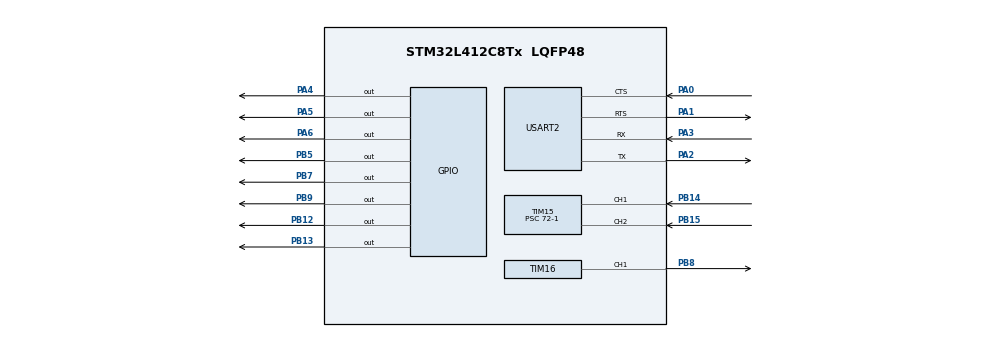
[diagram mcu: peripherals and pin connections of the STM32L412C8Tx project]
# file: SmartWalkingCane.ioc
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Mcu.Family=STM32L4
Mcu.Name=STM32L412C8Tx
Mcu.Package=LQFP48
NVIC.PriorityGroup=NVIC_PRIORITYGROUP_4
NVIC.TIM1_BRK_TIM15_IRQn=true\:0\:0\:false\:false\:true\:true\:true\:true
PA0.Mode=CTS_RTS
PA0.Signal=USART2_CTS
PA1.Mode=CTS_RTS
PA1.Signal=USART2_RTS
PA13\ (JTMS/SWDIO).Signal=SYS_JTMS-SWDIO
PA14\ (JTCK/SWCLK).Signal=SYS_JTCK-SWCLK
PA2.Mode=Asynchronous
PA2.Signal=USART2_TX
PA3.Mode=Asynchronous
PA3.Signal=USART2_RX
PA4.Signal=GPIO_Output
PA5.Signal=GPIO_Output
PA6.Signal=GPIO_Output
PB12.Signal=GPIO_Output
PB13.Signal=GPIO_Output
PB14.Signal=S_TIM15_CH1
PB15.Signal=S_TIM15_CH2
PB3\ (JTDO/TRACESWO).Signal=SYS_JTDO-SWO
PB5.GPIO_ModeDefaultOutputPP=GPIO_MODE_OUTPUT_OD
PB5.GPIO_PuPd=GPIO_NOPULL
PB5.Signal=GPIO_Output
PB7.Signal=GPIO_Output
PB8.Signal=S_TIM16_CH1
PB9.Signal=GPIO_Output
ProjectManager.HeapSize=0x200
ProjectManager.StackSize=0x400
ProjectManager.TargetToolchain=STM32CubeIDE
RCC.ADCFreq_Value=4000000
RCC.HSE_VALUE=8000000
RCC.HSI48_VALUE=48000000
RCC.HSI_VALUE=16000000
RCC.LSE_VALUE=32768
RCC.MSI_VALUE=4000000
RCC.USBFreq_Value=4000000
RCC.VCOOutputFreq_Value=32000000
SH.S_TIM15_CH1.0=TIM15_CH1,Input_Capture1_from_TI1
SH.S_TIM15_CH2.0=TIM15_CH2,Input_Capture2_from_TI2
SH.S_TIM16_CH1.0=TIM16_CH1,PWM Generation1 CH1
TIM15.AutoReloadPreload=TIM_AUTORELOAD_PRELOAD_ENABLE
TIM15.Channel-Input_Capture1_from_TI1=TIM_CHANNEL_1
TIM15.Channel-Input_Capture2_from_TI2=TIM_CHANNEL_2
TIM15.Period=0xffff-1
TIM15.Prescaler=72-1
TIM16.AutoReloadPreload=TIM_AUTORELOAD_PRELOAD_ENABLE
TIM16.Channel=TIM_CHANNEL_1
USART2.VirtualMode-Asynchronous=VM_ASYNC
VP_TIM15_VS_ClockSourceINT.Mode=Internal
VP_TIM16_VS_ClockSourceINT.Mode=Enable_Timer
board=custom

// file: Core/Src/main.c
/* USER CODE BEGIN Header */
/**
 ******************************************************************************
 * @file           : main.c
 * @brief          : Main program body
 ******************************************************************************
 * @attention
 *
 * Copyright (c) 2024 STMicroelectronics.
 * All rights reserved.
 *
 * This software is licensed under terms that can be found in the LICENSE file
 * in the root directory of this software component.
 * If no LICENSE file comes with this software, it is provided AS-IS.
 *
 ******************************************************************************
 */
/* USER CODE END Header */
#include "main.h"

/* USER CODE BEGIN Includes */
#include <math.h>
#include <stdint.h>
#include <stdio.h>
#include <stdlib.h>
#include <string.h>

#include "HCSR04.h"
#include "defines.h"
#include "lteiot9.h"
/* USER CODE END Includes */

/* USER CODE BEGIN PD */
#define HCSR04_SENSOR1 0
#define HCSR04_SENSOR2 1

#define NUM_SAMPLES 8

#define COUNTER_PERIOD 65535

// #define NUM_SAMPLES 3
/* USER CODE END PD */

TIM_HandleTypeDef htim15;
TIM_HandleTypeDef htim16;

UART_HandleTypeDef huart2;

/* USER CODE BEGIN PV */

uint16_t TRIG_Ticks = 0;

float US_Dist_1 = 0.0;
float US_Dist_2 = 0.0;

int readings1[NUM_SAMPLES];
int readings2[NUM_SAMPLES];
int index1 = 0;
int index2 = 0;

lteiot9_t lteiot9;

char app_buf[PROCESS_BUFFER_SIZE] = {0};
char gnss_buf[PROCESS_BUFFER_SIZE] = {0};
char response[PROCESS_BUFFER_SIZE] = {0};

uint32_t gnss_buf_len = 0;
uint32_t gnss_buf_cnt = 0;

uint32_t app_buf_len = 0;
uint32_t app_buf_cnt = 0;

char latitude_data[30] = {0};
char longitude_data[30] = {0};
char altitude_data[30] = {0};

int app_error_flag;
int last_error_flag;

char uid_str[25];
char json_data[128];
char last_json_data[128];
char json_data_flag[64];

uint8_t lteiot9_status = 0;
uint8_t init_status = 0;
uint8_t net_config_status = 0;
uint8_t net_conn_status = 0;
uint8_t setup_http_flags_status = 0;
uint8_t post_http_flags_status = 0;
uint8_t gnss_config_status = 0;
uint8_t gnss_data_status = 0;
uint8_t setup_http_gnss_status = 0;
uint8_t post_http_gnss_status = 0;

uint8_t gps_status = 0;
uint8_t gps_status_old = 0;
uint8_t ping_status = 0;
uint32_t wait_value = DEFAULT_WAIT;
int http_fail_counter = 0;

int dns_idx = 0;
char primary_dns[3][8] = {"0.0.0.0", "8.8.8.8", "1.1.1.1"};
char secondary_dns[3][8] = {"0.0.0.0", "8.8.4.4", "1.0.0.1"};
int netConfigCounter = 0;

uint32_t ping_timer_counter = 0;

int gnssDataFunctionCounter = 0;
int gnssDataFunctionCounter_MaxVal = FIRST_TIME_GNSS;
int gnssPostFlag = -1;

uint8_t location_send_flag = 0;

int gnss_parse_flag = -1;
int gnss_post_flag = -1;
uint32_t initFunctionCounter = 0;
uint32_t initFunctionCounter_MaxVal = 20;
uint32_t netConfigFunctionCounter = 0;
uint32_t netConfigFunctionCounter_MaxVal = 3;

uint32_t netConnFunctionCounter = 0;
uint32_t netConnFunctionCounter_MaxVal = 3;
uint32_t setupHttpFlagsFunctionCounter = 0;
uint32_t setupHttpFlagsFunctionCounter_MaxVal = 5;
uint32_t postHttpFlagsFunctionCounter = 0;
uint32_t postHttpFlagsFunctionCounter_MaxVal = 5;
uint32_t setupHttpGnssFunctionCounter = 0;
uint32_t setupHttpGnssFunctionCounter_MaxVal = 5;
uint32_t postHttpGnssFunctionCounter = 0;
uint32_t postHttpGnssFunctionCounter_MaxVal = 5;

/* USER CODE END PV */

void SystemClock_Config(void);
static void MX_GPIO_Init(void);
static void MX_TIM15_Init(void);
static void MX_TIM16_Init(void);
static void MX_USART2_UART_Init(void);

/* USER CODE BEGIN 0 */

void HAL_TIM_IC_CaptureCallback(TIM_HandleTypeDef *htim) {
  HCSR04_TMR_IC_ISR(htim);
}

void HAL_TIM_PeriodElapsedCallback(TIM_HandleTypeDef *htim) {
  HCSR04_TMR_OVF_ISR(htim);
}

void SysTick_CallBack(void) {
  TRIG_Ticks++;

  // Every 15msec
  if (TRIG_Ticks >= 15) {
    HCSR04_Trigger(HCSR04_SENSOR1);
    HCSR04_Trigger(HCSR04_SENSOR2);
    TRIG_Ticks = 0;
  }
}

void set_vibration_1(float distance);

void set_vibration_2(float distance);

void ping(uint32_t time, uint32_t delay);

void ping_start();

void ping_routine();

void reset_status();

void lteiot9_clear_app_buf();

void lteiot9_clear_gnss_buf();

size_t filledCharacters(char buff[]);

uint32_t lteiot9_process_gnss();

uint32_t lteiot9_process();

uint32_t lteiot9_rsp_check();

void parse_flags_json_response();

float parse_coordinate(char *data);

void format_coordinate_json_data(float latitude, float longitude, char *json_data);

int32_t lteiot9_element_parser(char *cmd, uint8_t element, char *element_data);

void lteiot9_error_check(uint32_t error_flag);

int lteiot9_gnss_data_parser();

int lteiot9_gnss_coordinates();

void gnssDataFunction();

void initFunction();

void netConfigFunction();

void netConnFunction();

void setupHttpFlagsFunction();

void postHttpFlagsFunction();

void gnssConfigFunction();

void setupHttpGnssFunction();

void postHttpGnssFunction();

void lteiot9_task() {
  switch (lteiot9_status) {
    case LTEIOT9_INIT: {
      initFunction();
      break;
    }
    case LTEIOT9_NET_CONFIG: {
      netConfigFunction();
      break;
    }
    case LTEIOT9_NET_CONN: {
      netConnFunction();
      break;
    }
    case LTEIOT9_HTTP_FLAGS_SETUP: {
      setupHttpFlagsFunction();
      break;
    }
    case LTEIOT9_HTTP_FLAGS_POST: {
      postHttpFlagsFunction();
      break;
    }
    case LTEIOT9_GNSS_CONFIG: {
      gnssConfigFunction();
      break;
    }
    case LTEIOT9_GNSS_DATA: {
      gnssDataFunction();
      break;
    }
    case LTEIOT9_HTTP_GNSS_SETUP: {
      setupHttpGnssFunction();
      break;
    }
    case LTEIOT9_HTTP_GNSS_POST: {
      postHttpGnssFunction();
      break;
    }
    default: {
      // Handle unknown status
      break;
    }
  }

  if (http_fail_counter > 2) {
    dns_idx = (dns_idx + 1) % 3;
    lteiot9_status = LTEIOT9_NET_CONFIG;
    http_fail_counter = 0;
    reset_status();
  }
}

// Function to update rolling average for sensor 1
int UpdateRollingAverage1(int newReading) {
  readings1[index1] = newReading;
  index1 = (index1 + 1) % NUM_SAMPLES;

  int total = 0;
  for (int i = 0; i < NUM_SAMPLES; i++) {
    total += readings1[i];
  }
  return total / NUM_SAMPLES;
}

// Function to update rolling average for sensor 2
int UpdateRollingAverage2(int newReading) {
  readings2[index2] = newReading;
  index2 = (index2 + 1) % NUM_SAMPLES;

  int total = 0;
  for (int i = 0; i < NUM_SAMPLES; i++) {
    total += readings2[i];
  }
  return total / NUM_SAMPLES;
}

void us_sensor_task() {
  US_Dist_1 = HCSR04_Read(HCSR04_SENSOR1);
  US_Dist_2 = HCSR04_Read(HCSR04_SENSOR2);

  US_Dist_1 = UpdateRollingAverage1(US_Dist_1);
  US_Dist_2 = UpdateRollingAverage2(US_Dist_2);

  set_vibration_1(US_Dist_1);
  set_vibration_2(US_Dist_2);
}

/* USER CODE END 0 */

int main(void) {

  /* MCU Configuration--------------------------------------------------------*/

  /* Reset of all peripherals, Initializes the Flash interface and the Systick.
   */
  HAL_Init();

  /* Configure the system clock */
  SystemClock_Config();

  /* Initialize all configured peripherals */
  MX_GPIO_Init();
  MX_TIM15_Init();
  MX_TIM16_Init();
  MX_USART2_UART_Init();
  /* USER CODE BEGIN 2 */

  HAL_GPIO_WritePin(GPIOB, GPIO_PIN_5, GPIO_PIN_SET);
  HCSR04_Init(HCSR04_SENSOR1, &htim15);
  HCSR04_Init(HCSR04_SENSOR2, &htim15);

  HAL_TIM_PWM_Start(&htim16, TIM_CHANNEL_1);
  HAL_GPIO_WritePin(LTEIOT9_CS_GPIO_Port, LTEIOT9_CS_Pin, GPIO_PIN_SET);

  uint32_t uid[3];

  uid[0] = HAL_GetUIDw0();
  uid[1] = HAL_GetUIDw1();
  uid[2] = HAL_GetUIDw2();

  // Convert each uint32_t to its string representation
  snprintf(uid_str, sizeof(uid_str), "%08lX%08lX%08lX", uid[0], uid[1], uid[2]);
  lteiot9_init(&lteiot9, &huart2);

  ping_start();

  /* USER CODE END 2 */

  /* Infinite loop */
  /* USER CODE BEGIN WHILE */
  while (1) {
    uint32_t tick = HAL_GetTick();

    while (HAL_GetTick() - tick < wait_value) {
      us_sensor_task();
    }

    wait_value = DEFAULT_WAIT;

    lteiot9_task();

    /* USER CODE END WHILE */

  }
}

void SystemClock_Config(void) {
  RCC_OscInitTypeDef RCC_OscInitStruct = {0};
  RCC_ClkInitTypeDef RCC_ClkInitStruct = {0};

  /** Configure the main internal regulator output voltage
   */
  if (HAL_PWREx_ControlVoltageScaling(PWR_REGULATOR_VOLTAGE_SCALE1) != HAL_OK) {
    Error_Handler();
  }

  /** Initializes the RCC Oscillators according to the specified parameters
   * in the RCC_OscInitTypeDef structure.
   */
  RCC_OscInitStruct.OscillatorType = RCC_OSCILLATORTYPE_MSI;
  RCC_OscInitStruct.MSIState = RCC_MSI_ON;
  RCC_OscInitStruct.MSICalibrationValue = 0;
  RCC_OscInitStruct.MSIClockRange = RCC_MSIRANGE_6;
  RCC_OscInitStruct.PLL.PLLState = RCC_PLL_NONE;
  if (HAL_RCC_OscConfig(&RCC_OscInitStruct) != HAL_OK) {
    Error_Handler();
  }

  /** Initializes the CPU, AHB and APB buses clocks
   */
  RCC_ClkInitStruct.ClockType = RCC_CLOCKTYPE_HCLK | RCC_CLOCKTYPE_SYSCLK |
                                RCC_CLOCKTYPE_PCLK1 | RCC_CLOCKTYPE_PCLK2;
  RCC_ClkInitStruct.SYSCLKSource = RCC_SYSCLKSOURCE_MSI;
  RCC_ClkInitStruct.AHBCLKDivider = RCC_SYSCLK_DIV1;
  RCC_ClkInitStruct.APB1CLKDivider = RCC_HCLK_DIV1;
  RCC_ClkInitStruct.APB2CLKDivider = RCC_HCLK_DIV1;

  if (HAL_RCC_ClockConfig(&RCC_ClkInitStruct, FLASH_LATENCY_0) != HAL_OK) {
    Error_Handler();
  }
}

static void MX_TIM15_Init(void) {

  TIM_ClockConfigTypeDef sClockSourceConfig = {0};
  TIM_MasterConfigTypeDef sMasterConfig = {0};
  TIM_IC_InitTypeDef sConfigIC = {0};

  htim15.Instance = TIM15;
  htim15.Init.Prescaler = 72 - 1;
  htim15.Init.CounterMode = TIM_COUNTERMODE_UP;
  htim15.Init.Period = 0xffff - 1;
  htim15.Init.ClockDivision = TIM_CLOCKDIVISION_DIV1;
  htim15.Init.RepetitionCounter = 0;
  htim15.Init.AutoReloadPreload = TIM_AUTORELOAD_PRELOAD_ENABLE;
  if (HAL_TIM_Base_Init(&htim15) != HAL_OK) {
    Error_Handler();
  }
  sClockSourceConfig.ClockSource = TIM_CLOCKSOURCE_INTERNAL;
  if (HAL_TIM_ConfigClockSource(&htim15, &sClockSourceConfig) != HAL_OK) {
    Error_Handler();
  }
  if (HAL_TIM_IC_Init(&htim15) != HAL_OK) {
    Error_Handler();
  }
  sMasterConfig.MasterOutputTrigger = TIM_TRGO_RESET;
  sMasterConfig.MasterSlaveMode = TIM_MASTERSLAVEMODE_DISABLE;
  if (HAL_TIMEx_MasterConfigSynchronization(&htim15, &sMasterConfig) !=
      HAL_OK) {
    Error_Handler();
  }
  sConfigIC.ICPolarity = TIM_INPUTCHANNELPOLARITY_RISING;
  sConfigIC.ICSelection = TIM_ICSELECTION_DIRECTTI;
  sConfigIC.ICPrescaler = TIM_ICPSC_DIV1;
  sConfigIC.ICFilter = 0;
  if (HAL_TIM_IC_ConfigChannel(&htim15, &sConfigIC, TIM_CHANNEL_1) != HAL_OK) {
    Error_Handler();
  }
  if (HAL_TIM_IC_ConfigChannel(&htim15, &sConfigIC, TIM_CHANNEL_2) != HAL_OK) {
    Error_Handler();
  }
}

static void MX_TIM16_Init(void) {

  TIM_OC_InitTypeDef sConfigOC = {0};
  TIM_BreakDeadTimeConfigTypeDef sBreakDeadTimeConfig = {0};

  htim16.Instance = TIM16;
  htim16.Init.Prescaler = 0;
  htim16.Init.CounterMode = TIM_COUNTERMODE_UP;
  htim16.Init.Period = 65535;
  htim16.Init.ClockDivision = TIM_CLOCKDIVISION_DIV1;
  htim16.Init.RepetitionCounter = 0;
  htim16.Init.AutoReloadPreload = TIM_AUTORELOAD_PRELOAD_ENABLE;
  if (HAL_TIM_Base_Init(&htim16) != HAL_OK) {
    Error_Handler();
  }
  if (HAL_TIM_PWM_Init(&htim16) != HAL_OK) {
    Error_Handler();
  }
  sConfigOC.OCMode = TIM_OCMODE_PWM1;
  sConfigOC.Pulse = 0;
  sConfigOC.OCPolarity = TIM_OCPOLARITY_HIGH;
  sConfigOC.OCNPolarity = TIM_OCNPOLARITY_HIGH;
  sConfigOC.OCFastMode = TIM_OCFAST_DISABLE;
  sConfigOC.OCIdleState = TIM_OCIDLESTATE_RESET;
  sConfigOC.OCNIdleState = TIM_OCNIDLESTATE_RESET;
  if (HAL_TIM_PWM_ConfigChannel(&htim16, &sConfigOC, TIM_CHANNEL_1) != HAL_OK) {
    Error_Handler();
  }
  sBreakDeadTimeConfig.OffStateRunMode = TIM_OSSR_DISABLE;
  sBreakDeadTimeConfig.OffStateIDLEMode = TIM_OSSI_DISABLE;
  sBreakDeadTimeConfig.LockLevel = TIM_LOCKLEVEL_OFF;
  sBreakDeadTimeConfig.DeadTime = 0;
  sBreakDeadTimeConfig.BreakState = TIM_BREAK_DISABLE;
  sBreakDeadTimeConfig.BreakPolarity = TIM_BREAKPOLARITY_HIGH;
  sBreakDeadTimeConfig.AutomaticOutput = TIM_AUTOMATICOUTPUT_DISABLE;
  if (HAL_TIMEx_ConfigBreakDeadTime(&htim16, &sBreakDeadTimeConfig) != HAL_OK) {
    Error_Handler();
  }
  HAL_TIM_MspPostInit(&htim16);
}

static void MX_USART2_UART_Init(void) {

  huart2.Instance = USART2;
  huart2.Init.BaudRate = 115200;
  huart2.Init.WordLength = UART_WORDLENGTH_8B;
  huart2.Init.StopBits = UART_STOPBITS_1;
  huart2.Init.Parity = UART_PARITY_NONE;
  huart2.Init.Mode = UART_MODE_TX_RX;
  huart2.Init.HwFlowCtl = UART_HWCONTROL_RTS_CTS;
  huart2.Init.OverSampling = UART_OVERSAMPLING_16;
  huart2.Init.OneBitSampling = UART_ONE_BIT_SAMPLE_DISABLE;
  huart2.AdvancedInit.AdvFeatureInit = UART_ADVFEATURE_NO_INIT;
  if (HAL_UART_Init(&huart2) != HAL_OK) {
    Error_Handler();
  }
}

static void MX_GPIO_Init(void) {
  GPIO_InitTypeDef GPIO_InitStruct = {0};

  /* GPIO Ports Clock Enable */
  __HAL_RCC_GPIOA_CLK_ENABLE();
  __HAL_RCC_GPIOB_CLK_ENABLE();

  /*Configure GPIO pin Output Level */
  HAL_GPIO_WritePin(GPIOA, GPIO_PIN_4 | GPIO_PIN_5 | GPIO_PIN_6,
                    GPIO_PIN_RESET);

  /*Configure GPIO pin Output Level */
  HAL_GPIO_WritePin(
      GPIOB, GPIO_PIN_12 | GPIO_PIN_13 | GPIO_PIN_5 | GPIO_PIN_7 | GPIO_PIN_9,
      GPIO_PIN_RESET);

  /*Configure GPIO pins : PA4 PA5 PA6 */
  GPIO_InitStruct.Pin = GPIO_PIN_4 | GPIO_PIN_5 | GPIO_PIN_6;
  GPIO_InitStruct.Mode = GPIO_MODE_OUTPUT_PP;
  GPIO_InitStruct.Pull = GPIO_NOPULL;
  GPIO_InitStruct.Speed = GPIO_SPEED_FREQ_LOW;
  HAL_GPIO_Init(GPIOA, &GPIO_InitStruct);

  /*Configure GPIO pins : PB12 PB13 PB7 PB9 */
  GPIO_InitStruct.Pin = GPIO_PIN_12 | GPIO_PIN_13 | GPIO_PIN_7 | GPIO_PIN_9;
  GPIO_InitStruct.Mode = GPIO_MODE_OUTPUT_PP;
  GPIO_InitStruct.Pull = GPIO_NOPULL;
  GPIO_InitStruct.Speed = GPIO_SPEED_FREQ_LOW;
  HAL_GPIO_Init(GPIOB, &GPIO_InitStruct);

  /*Configure GPIO pin : PB5 */
  GPIO_InitStruct.Pin = GPIO_PIN_5;
  GPIO_InitStruct.Mode = GPIO_MODE_OUTPUT_OD;
  GPIO_InitStruct.Pull = GPIO_NOPULL;
  GPIO_InitStruct.Speed = GPIO_SPEED_FREQ_LOW;
  HAL_GPIO_Init(GPIOB, &GPIO_InitStruct);

}

/* USER CODE BEGIN 4 */

void set_vibration_1(float distance) {
  if (distance < 100) {
    for (int i = 0; i < 50; i++) {
      HAL_GPIO_WritePin(GPIOB, GPIO_PIN_7, GPIO_PIN_SET);
      HAL_Delay(2);
      HAL_GPIO_WritePin(GPIOB, GPIO_PIN_7, GPIO_PIN_RESET);
      HAL_Delay(1);
    }
  } else {
    HAL_GPIO_WritePin(VIBRATION_2_Port, VIBRATION_2_Pin, GPIO_PIN_RESET);
  }
}

void set_vibration_2(float distance) {
  if (distance > 0 && distance < 140) {
    TIM16->CCR1 = 58981;
    HAL_TIM_PWM_Start(&htim16, TIM_CHANNEL_1);
  } else if (distance >= 140 && distance < 240) {
    TIM16->CCR1 = 26214;
    HAL_TIM_PWM_Start(&htim16, TIM_CHANNEL_1);
  } else {
    HAL_TIM_PWM_Stop(&htim16, TIM_CHANNEL_1);
  }
}

void ping(uint32_t time, uint32_t delay) {
  for (int i = 0; i < time; i++) {
    HAL_GPIO_WritePin(GPIOB, GPIO_PIN_9, GPIO_PIN_SET);
    HAL_Delay(delay);  // wait for 1ms
    HAL_GPIO_WritePin(GPIOB, GPIO_PIN_9, GPIO_PIN_RESET);
    HAL_Delay(delay);  // wait for 1ms
  }
}

void ping_start() {
  ping(10, 1);
  HAL_Delay(50);
}

void ping_routine() {
  for (int i = 0; i < 3; i++) {
    ping(100, 1);
    HAL_Delay(100);
    ping(100, 1);
    HAL_Delay(100);
    ping(100, 1);
    HAL_Delay(1000);
  }
}

void reset_status() {
  init_status = 0;
  net_config_status = 0;
  net_conn_status = 0;
  setup_http_flags_status = 0;
  post_http_flags_status = 0;
  gnss_config_status = 0;
  gnss_data_status = 0;
  setup_http_gnss_status = 0;
  post_http_gnss_status = 0;
}

void lteiot9_clear_app_buf() {
  memset(app_buf, 0, PROCESS_BUFFER_SIZE);
  app_buf_len = 0;
  app_buf_cnt = 0;
}

void lteiot9_clear_gnss_buf() {
  memset(gnss_buf, 0, PROCESS_BUFFER_SIZE);
  gnss_buf_len = 0;
  gnss_buf_cnt = 0;
}

size_t filledCharacters(char buff[]) {
  size_t count = 0;

  for (size_t i = 0; i < RX_BUFFER_SIZE; i++) {
    if (buff[i] != '\0') {
      count++;
    }
  }

  if (count > 0) {
    size_t leadingNulls = 0;
    while (buff[leadingNulls] == '\0') {
      leadingNulls++;
    }

    // Move non-null characters to the beginning of the buffer
    for (size_t i = 0; i + leadingNulls < RX_BUFFER_SIZE; i++) {
      buff[i] = buff[i + leadingNulls];
    }

    // Fill the remaining part with null characters
    for (size_t i = RX_BUFFER_SIZE - leadingNulls; i < RX_BUFFER_SIZE; i++) {
      buff[i] = '\0';
    }
  }

  return count;
}

uint32_t lteiot9_process_gnss() {
  uint32_t return_flag = LTEIOT9_ERROR;
  uint32_t rx_size = 0;
  char rx_buff[RX_BUFFER_SIZE] = {0};

  HAL_UART_Receive(lteiot9.uart, (uint8_t *)rx_buff, RX_BUFFER_SIZE, 70);

  rx_size = filledCharacters(rx_buff);

  if (rx_size > 0) {
    uint32_t buf_cnt = 0;
    return_flag = LTEIOT9_OK;

    if (gnss_buf_len + rx_size >= RX_BUFFER_SIZE) {
      lteiot9_clear_gnss_buf();
      return_flag = LTEIOT9_ERROR_OVERFLOW;
    } else {
      buf_cnt = gnss_buf_len;

      gnss_buf_len += rx_size;
    }

    for (uint32_t rx_cnt = 0; rx_cnt < rx_size; rx_cnt++) {
      if (rx_buff[rx_cnt] != 0) {
        gnss_buf[(buf_cnt + rx_cnt)] = rx_buff[rx_cnt];
      } else {
        gnss_buf_len--;
      }
    }
  }

  return return_flag;
}

uint32_t lteiot9_process() {
  uint32_t return_flag = LTEIOT9_ERROR;
  uint32_t rx_size = 0;
  char rx_buff[RX_BUFFER_SIZE] = {0};

  HAL_UART_Receive(lteiot9.uart, (uint8_t *)rx_buff, RX_BUFFER_SIZE, 70);

  rx_size = filledCharacters(rx_buff);

  if (rx_size > 0) {
    uint32_t buf_cnt = 0;
    return_flag = LTEIOT9_OK;

    if (app_buf_len + rx_size >= RX_BUFFER_SIZE) {
      lteiot9_clear_app_buf();
      return_flag = LTEIOT9_ERROR_OVERFLOW;
    } else {
      buf_cnt = app_buf_len;

      app_buf_len += rx_size;
    }

    for (uint32_t rx_cnt = 0; rx_cnt < rx_size; rx_cnt++) {
      if (rx_buff[rx_cnt] != 0) {
        app_buf[(buf_cnt + rx_cnt)] = rx_buff[rx_cnt];
      } else {
        app_buf_len--;
      }
    }
  }

  return return_flag;
}

uint32_t lteiot9_rsp_check() {
  uint32_t timeout_cnt = 0;
  uint32_t timeout = 1;

  while (timeout_cnt < timeout) {
    lteiot9_clear_app_buf();
    lteiot9_process();
    if (strstr(app_buf, LTEIOT9_RSP_OK) != NULL) {
      return LTEIOT9_OK;
    }
    timeout_cnt++;
    HAL_Delay(1);
  }

  return LTEIOT9_ERROR;
}

void parse_flags_json_response() {
  char *ptr = response;

  // Find gps_status
  ptr = strstr(ptr, "\"gps_status\":");
  if (ptr != NULL) {
    ptr += strlen("\"gps_status\":");
    if (*ptr == 't') {
      gps_status = 1;
    } else {
      gps_status = 0;
    }
  } else {
    gps_status = 0;
  }

  // Find ping_status
  ptr = strstr(ptr, "\"ping_status\":");
  if (ptr != NULL) {
    ptr += strlen("\"ping_status\":");
    if (*ptr == 't') {
      ping_status = 1;
    } else {
      ping_status = 0;
    }
  } else {
    ping_status = 0;
  }
}

float parse_coordinate(char *data) {
  char *first_half;
  char *second_half;
  char last_two[3];  // To store the last two characters

  // Splitting the string at the decimal point
  first_half = strtok(data, ".");
  second_half = strtok(NULL, ".");

  // Get the last two characters from the first half
  int length = strlen(first_half);
  if (length >= 2) {
    strncpy(last_two, first_half + length - 2, 2);
    last_two[2] = '\0';  // Null-terminate the string
  } else {
    return 1;
  }

  // Create a new second half combining last_two and the original second_half
  char new_second_half[30];
  sprintf(new_second_half, "%s.%s", last_two, second_half);

  // Create a new first half without the last two characters
  char new_first_half[30];
  strncpy(new_first_half, first_half, length - 2);
  new_first_half[length - 2] = '\0';  // Null-terminate the string

  // Check if the new first half starts with '0', then replace it with '-'

  int factor = 1;
  if (new_first_half[0] == '0') {
    factor = -1;
  }
  double final_first_half = atof(new_first_half);
  double final_second_half = atof(new_second_half);

  double decimal = factor * (final_first_half + (final_second_half / 60.0));

  return decimal;
}

void format_coordinate_json_data(float latitude, float longitude,
                                 char *json_data) {
  char lat_str[20];
  char lon_str[20];

  // Convert floats to strings
  sprintf(lat_str, "%.6f", latitude);
  sprintf(lon_str, "%.6f", longitude);

  // Create JSON string
  sprintf(json_data,
          "{\\\"id\\\":\\\"%s\\\",\\\"latitude\\\":\\\"%s\\\","
          "\\\"longitude\\\":\\\"%s\\\"}",
          uid_str, lat_str, lon_str);

  strcpy(last_json_data, json_data);
}

int32_t lteiot9_element_parser(char *cmd, uint8_t element, char *element_data) {
  int32_t ret_flag = 0;

  if (strstr(gnss_buf, cmd) != NULL) {
    uint8_t element_cnt = 0;
    char data_buf[30] = {0};
    uint8_t data_cnt = 0;
    char *gngga_ptr;

    gngga_ptr = strstr(gnss_buf, cmd);

    while (strchr(gngga_ptr, LTEIOT9_GNSS_START) == NULL) {
      lteiot9_process_gnss();
    }

    for (;;) {
      if (*gngga_ptr == LTEIOT9_GNSS_START) {
        ret_flag = -2;
        break;
      }

      if (*gngga_ptr == LTEIOT9_GNSS_SEPARATOR) {
        if (element_cnt == element) {
          if (data_cnt == 0) {
            ret_flag = -2;
          }
          strcpy(element_data, data_buf);
          break;
        }
        element_cnt++;
      }

      if ((element == element_cnt) && (*gngga_ptr != LTEIOT9_GNSS_SEPARATOR)) {
        data_buf[data_cnt] = *gngga_ptr;
        data_cnt++;

        if (data_cnt >= 30) {
          ret_flag = -3;
          break;
        }
      }

      gngga_ptr++;
    }
  } else {
    ret_flag = -1;
  }

  return ret_flag;
}

void lteiot9_error_check(uint32_t error_flag) {
  if ((error_flag != 0) && (error_flag != -1)) {
    switch (error_flag) {
      case -2:
        // overflow
        break;
      case -3:
        // timeout
        break;
      default:
        break;
    }
  }
}

int lteiot9_gnss_data_parser() {
  int retval = -1;

  uint32_t error_flag = lteiot9_element_parser(
      LTEIOT9_GNSS_GPGGA, LTEIOT9_GPGGA_LATITUDE, latitude_data);

  if (error_flag == 0) {
    error_flag |= lteiot9_element_parser(
        LTEIOT9_GNSS_GPGGA, LTEIOT9_GPGGA_LONGITUDE, longitude_data);
  }

  if (error_flag == 0) {
    if (last_error_flag != 0) {
    }

    if (strlen(latitude_data) < 7 || strlen(longitude_data) < 7) {
      return retval;
    }

    if (strcmp(latitude_data, longitude_data) == 0) {
      return retval;
    }

    retval = 0;

  } else if (error_flag < -1) {
    if (last_error_flag == 0) {
    }
  }

  if (error_flag != -1) {
    last_error_flag = error_flag;
    lteiot9_clear_app_buf();
  }

  return retval;
}

int lteiot9_gnss_coordinates() {
  float latitude_decimal = parse_coordinate(latitude_data);
  float longitude_decimal = parse_coordinate(longitude_data);

  if (latitude_decimal == -999 || longitude_decimal == -999) {
    return -1;
  }

  format_coordinate_json_data(latitude_decimal, longitude_decimal, json_data);
  location_send_flag = 1;

  return 0;
}

void gnssDataFunction() {
  switch (gnss_data_status) {
    case GNSS_DATA_POWER_UP:
      lteiot9_send_cmd(&lteiot9, GNSS_POWER_UP);
      gnss_data_status = GNSS_DATA_POWER_UP_CHECK;
      wait_value = 1000;
      break;
    case GNSS_DATA_POWER_UP_CHECK:
      app_error_flag = lteiot9_rsp_check();
      if (strstr(app_buf, "^SGPSC: \"Engine\",\"0\",\"8\"") != NULL) {
        gnss_data_status = GNSS_DATA_POWER_UP;
        lteiot9_status = LTEIOT9_GNSS_CONFIG;
      }

      if (app_error_flag == 0) {
        gnss_data_status = GNSS_DATA_START_OUTPUT;
        gnssDataFunctionCounter = 0;
      } else {
        gnss_data_status = GNSS_DATA_POWER_UP;
      }
      break;
    case GNSS_DATA_START_OUTPUT:
      lteiot9_send_cmd(&lteiot9, GNSS_START_OUT);
      app_error_flag = lteiot9_rsp_check();

      if (app_error_flag == 0) {
        gnss_data_status = GNSS_DATA_PROCESS;
        gnssDataFunctionCounter = 0;
      }

      break;
    case GNSS_DATA_PROCESS:
      gnssDataFunctionCounter++;
      lteiot9_process_gnss();
      gnss_data_status = GNSS_DATA_PARSE;
      break;
    case GNSS_DATA_PARSE:
      gnssPostFlag = lteiot9_gnss_data_parser();
      if (gnssPostFlag == 0) {
        gnss_data_status = GNSS_DATA_PARSE_COORDINATES;
        gnssDataFunctionCounter = 0;
      } else {
        gnss_data_status = GNSS_DATA_PROCESS;
      }

      if (gnssDataFunctionCounter > gnssDataFunctionCounter_MaxVal) {
        gnssDataFunctionCounter = 0;
        gnss_data_status = GNSS_DATA_STOP_OUTPUT;
      }

      break;
    case GNSS_DATA_PARSE_COORDINATES:
      lteiot9_gnss_coordinates();
      gnss_data_status = GNSS_DATA_STOP_OUTPUT;
      break;
    case GNSS_DATA_STOP_OUTPUT:
      lteiot9_send_cmd(&lteiot9, GNSS_STOP_OUT);
      app_error_flag = lteiot9_rsp_check();
      if (app_error_flag == 0) {
        gnss_data_status = GNSS_DATA_POWER_DOWN;
      }
      break;
    case GNSS_DATA_POWER_DOWN:
      lteiot9_send_cmd(&lteiot9, GNSS_POWER_DOWN);
      app_error_flag = lteiot9_rsp_check();
      if (app_error_flag == 0) {
        gnss_data_status = GNSS_DATA_POWER_UP;
        gnssDataFunctionCounter_MaxVal = 15;

        if (gnssPostFlag == 0) {
          lteiot9_status = LTEIOT9_HTTP_GNSS_SETUP;
          gnssDataFunctionCounter_MaxVal = 10;
        } else {
          lteiot9_status = LTEIOT9_HTTP_FLAGS_SETUP;
        }
      } else {
        lteiot9_send_cmd(&lteiot9, GNSS_POWER_DOWN);
      }
      break;
    default:
      break;
  }
}

void initFunction() {
  switch (init_status) {
    case INIT_ON:
      lteiot9_set_on_pin(&lteiot9, 1);
      lteiot9_process();
      lteiot9_clear_app_buf();
      lteiot9_send_cmd_with_parameter(&lteiot9, LTEIOT9_CMD_CFUN, "1,1");
      init_status = INIT_SYSSTART;
      wait_value = 3000;
      break;
    case INIT_SYSSTART:
      initFunctionCounter++;
      lteiot9_process();
      if (strstr(app_buf, LTEIOT9_SYSSTART) != NULL) {
        init_status = INIT_CHECK;
        lteiot9_clear_app_buf();
        ping_start();
      }
      break;
    case INIT_CHECK:
      lteiot9_send_cmd(&lteiot9, LTEIOT9_CMD_AT);
      app_error_flag = lteiot9_rsp_check();

      lteiot9_send_cmd(&lteiot9, LTEIOT9_CMD_ATI);
      app_error_flag = lteiot9_rsp_check();

      lteiot9_send_cmd(&lteiot9, "AT+CEMODE=2");
      app_error_flag = lteiot9_rsp_check();

      init_status = INIT_ON;
      lteiot9_status = LTEIOT9_NET_CONFIG;
      break;
    default:
      break;
  }

  if (initFunctionCounter > initFunctionCounter_MaxVal) {
    lteiot9_set_on_pin(&lteiot9, 0);
    initFunctionCounter = 0;
    init_status = INIT_ON;
    wait_value = 1000;
  }
}

void netConfigFunction() {
  switch (net_config_status) {
    case NET_CONFIG_CIMI:
      netConfigFunctionCounter++;
      lteiot9_send_cmd(&lteiot9, LTEIOT9_CMD_CIMI);
      app_error_flag = lteiot9_rsp_check();
      if (app_error_flag == 0) {
        net_config_status = NET_CONFIG_SIM;
        netConfigFunctionCounter = 0;
        lteiot9_clear_app_buf();
      }

      break;
    case NET_CONFIG_SIM:
      netConfigFunctionCounter++;
      lteiot9_set_sim_apn(&lteiot9, SIM_APN);
      app_error_flag = lteiot9_rsp_check();
      if (app_error_flag == 0) {
        net_config_status = NET_CONFIG_CREG;
        netConfigFunctionCounter = 0;
        lteiot9_clear_app_buf();
      }
      break;
    case NET_CONFIG_CREG:
      netConfigFunctionCounter++;
      lteiot9_send_cmd_with_parameter(&lteiot9, LTEIOT9_CMD_CREG, "2");
      app_error_flag = lteiot9_rsp_check();
      if (app_error_flag == 0) {
        net_config_status = NET_CONFIG_CIMI;
        lteiot9_status = LTEIOT9_NET_CONN;
        netConfigFunctionCounter = 0;
        lteiot9_clear_app_buf();
        netConfigCounter++;

        if (netConfigCounter > 3) {
          netConfigCounter = 0;
          lteiot9_status = LTEIOT9_INIT;
          lteiot9_set_on_pin(&lteiot9, 0);
        }
      }

      break;
    default:
      // Handle unexpected mode
      break;
  }

  if (netConfigFunctionCounter > netConfigFunctionCounter_MaxVal) {
    netConfigFunctionCounter = 0;
    net_config_status = NET_CONFIG_CIMI;
  }
}

void netConnFunction() {
  switch (net_conn_status) {
    case NET_CONN_CGATT:
      wait_value = 500;
      netConnFunctionCounter++;
      lteiot9_send_cmd_check(&lteiot9, LTEIOT9_CMD_CGATT);
      app_error_flag = lteiot9_rsp_check();
      if (app_error_flag == 0) {
        net_conn_status = NET_CONN_CEREG;
        netConnFunctionCounter = 0;
        lteiot9_clear_app_buf();
      }

      break;
    case NET_CONN_CEREG:
      wait_value = 500;
      netConnFunctionCounter++;
      lteiot9_send_cmd_check(&lteiot9, LTEIOT9_CMD_CEREG);
      app_error_flag = lteiot9_rsp_check();
      if (app_error_flag == 0) {
        net_conn_status = NET_CONN_CSQ;
        netConnFunctionCounter = 0;
        lteiot9_clear_app_buf();
      }
      break;
    case NET_CONN_CSQ:
      wait_value = 500;
      netConnFunctionCounter++;
      lteiot9_send_cmd(&lteiot9, LTEIOT9_CMD_CSQ);
      app_error_flag = lteiot9_rsp_check();
      if (app_error_flag == 0) {
        net_conn_status = NET_CONN_CGATT;
        lteiot9_status = LTEIOT9_HTTP_FLAGS_SETUP;
        netConnFunctionCounter = 0;
        lteiot9_clear_app_buf();
      }

      break;
    default:
      // Handle unexpected mode
      break;
  }

  if (netConnFunctionCounter > netConnFunctionCounter_MaxVal) {
    netConnFunctionCounter = 0;
    net_config_status = NET_CONN_CGATT;
    lteiot9_status = LTEIOT9_NET_CONFIG;
  }
}

void setupHttpFlagsFunction() {
  switch (setup_http_flags_status) {
    case HTTP_FLAGS_SETUP_SICA_1:
      setup_http_flags_status = HTTP_FLAGS_SETUP_SICA_0;  /////
      setupHttpFlagsFunctionCounter = 0;
      break;
    case HTTP_FLAGS_SETUP_SICA:
      setup_http_flags_status = HTTP_FLAGS_SETUP_CGPADDR;
      setupHttpFlagsFunctionCounter = 0;
      break;
    case HTTP_FLAGS_SETUP_CGPADDR:
      setup_http_flags_status = HTTP_FLAGS_SETUP_SICA_0;
      setupHttpFlagsFunctionCounter = 0;
      break;
    case HTTP_FLAGS_SETUP_SICA_0:
      setupHttpFlagsFunctionCounter++;
      lteiot9_send_cmd(&lteiot9, "AT^SICA=0,1");  // Ensure no active connection
      app_error_flag = lteiot9_rsp_check();
      if (app_error_flag == 0) {
        setup_http_flags_status = HTTP_FLAGS_SETUP_SSECUA;
        setupHttpFlagsFunctionCounter = 0;
      } else if (strstr(app_buf, "GPRS Error") != NULL) {
        lteiot9_status = LTEIOT9_INIT;
        lteiot9_set_on_pin(&lteiot9, 0);
      }
      break;
    case HTTP_FLAGS_SETUP_SSECUA:
      lteiot9_send_cmd(&lteiot9,
                       "AT^SSECUA=\"CertStore/TLS/PreconfigureCerts\"");
      setup_http_flags_status = HTTP_FLAGS_SETUP_DNS;
      break;
    case HTTP_FLAGS_SETUP_DNS:
      setupHttpFlagsFunctionCounter++;
      char cmd_dns[100];
      sprintf(cmd_dns, "AT^SICS=1,\"dns1\",\"%s\"", primary_dns[dns_idx]);
      lteiot9_send_cmd(&lteiot9, cmd_dns);
      if (app_error_flag == 0) {
        setup_http_flags_status = HTTP_FLAGS_SETUP_SICA_ON;
        setupHttpFlagsFunctionCounter = 0;
      }
      sprintf(cmd_dns, "AT^SICS=1,\"dns2\",\"%s\"", secondary_dns[dns_idx]);
      lteiot9_send_cmd(&lteiot9, cmd_dns);
      if (app_error_flag == 0) {
        setup_http_flags_status = HTTP_FLAGS_SETUP_SICA_ON;
        setupHttpFlagsFunctionCounter = 0;
      }
      break;
    case HTTP_FLAGS_SETUP_SICA_ON:
      setupHttpFlagsFunctionCounter++;
      lteiot9_send_cmd(&lteiot9, "AT^SICA=1,1");
      app_error_flag = lteiot9_rsp_check();
      if (app_error_flag == 0) {
        setup_http_flags_status = HTTP_FLAGS_SETUP_HTTP;
        setupHttpFlagsFunctionCounter = 0;
      }
      break;
    case HTTP_FLAGS_SETUP_HTTP:
      setupHttpFlagsFunctionCounter++;
      lteiot9_send_cmd(&lteiot9, "AT^SISS=4,srvType,\"Http\"");
      app_error_flag = lteiot9_rsp_check();
      if (app_error_flag == 0) {
        setup_http_flags_status = HTTP_FLAGS_SETUP_CON;
        setupHttpFlagsFunctionCounter = 0;
      }
      break;
    case HTTP_FLAGS_SETUP_CON:
      setupHttpFlagsFunctionCounter++;
      lteiot9_send_cmd(&lteiot9, "AT^SISS=4,conid,\"1\"");
      app_error_flag = lteiot9_rsp_check();
      if (app_error_flag == 0) {
        setup_http_flags_status = HTTP_FLAGS_SETUP_ADDR;
        setupHttpFlagsFunctionCounter = 0;
      }
      break;
    case HTTP_FLAGS_SETUP_ADDR:
      setupHttpFlagsFunctionCounter++;
      lteiot9_send_cmd(&lteiot9,
                       "AT^SISS=4,\"address\",\"" SERVER_URL_FLAGS "\"");
      app_error_flag = lteiot9_rsp_check();
      if (app_error_flag == 0) {
        setup_http_flags_status = HTTP_FLAGS_SETUP_HCPROP;
        setupHttpFlagsFunctionCounter = 0;
      }
      break;
    case HTTP_FLAGS_SETUP_HCPROP:
      setupHttpFlagsFunctionCounter++;

      char cmd[100];
      sprintf(cmd, "AT^SISS=4,hcprop,\"device_id: %s\"", uid_str);
      lteiot9_send_cmd(&lteiot9, cmd);
      app_error_flag = lteiot9_rsp_check();
      if (app_error_flag == 0) {
        setup_http_flags_status = HTTP_FLAGS_SETUP_SICA_ON;
        lteiot9_status = LTEIOT9_HTTP_FLAGS_POST;
        setupHttpFlagsFunctionCounter = 0;
      }
      break;
    default:
      // Handle unexpected mode
      break;
  }

  if (setupHttpFlagsFunctionCounter > setupHttpFlagsFunctionCounter_MaxVal) {
    if (setup_http_flags_status == HTTP_FLAGS_SETUP_SICA_1 ||
        setup_http_flags_status == HTTP_FLAGS_SETUP_SICA_0) {
      lteiot9_status = LTEIOT9_NET_CONFIG;
      http_fail_counter = 0;
    }

    setup_http_flags_status = HTTP_FLAGS_SETUP_SICA_1;
    setupHttpFlagsFunctionCounter = 0;
  }
}

void postHttpFlagsFunction() {
  switch (post_http_flags_status) {
    case HTTP_FLAGS_POST_POST:
      postHttpFlagsFunctionCounter++;
      lteiot9_send_cmd(&lteiot9, "AT^SISS=4,cmd,\"get\"");
      app_error_flag = lteiot9_rsp_check();
      if (app_error_flag == 0) {
        post_http_flags_status = HTTP_FLAGS_POST_SISO;
        postHttpFlagsFunctionCounter = 0;
      }
      break;
    case HTTP_FLAGS_POST_CONTENT:
      postHttpFlagsFunctionCounter++;
      char cmd[100];
      sprintf(cmd, "AT^SISS=4,\"hccontent\",\"{\\\"id\\\":\\\"%s\\\"}\"",
              uid_str);
      lteiot9_send_cmd(&lteiot9, cmd);
      app_error_flag = lteiot9_rsp_check();
      if (app_error_flag == 0) {
        post_http_flags_status = HTTP_FLAGS_POST_LEN;
        postHttpFlagsFunctionCounter = 0;
      }
      break;
    case HTTP_FLAGS_POST_LEN:
      postHttpFlagsFunctionCounter++;
      lteiot9_send_cmd(&lteiot9, "AT^SISS=4,\"hccontlen\",\"0\"");
      app_error_flag = lteiot9_rsp_check();
      if (app_error_flag == 0) {
        post_http_flags_status = HTTP_FLAGS_POST_SISO;
        postHttpFlagsFunctionCounter = 0;
      }
      break;
    case HTTP_FLAGS_POST_SISO:
      postHttpFlagsFunctionCounter++;
      lteiot9_send_cmd(&lteiot9, "AT^SISO=4");  // Open Internet service
      app_error_flag = lteiot9_rsp_check();
      if (app_error_flag == 0) {
        post_http_flags_status = HTTP_FLAGS_POST_RESPONSE;
        postHttpFlagsFunctionCounter = 0;
        wait_value = 1000;
      }
      break;
    case HTTP_FLAGS_POST_RESPONSE:
      postHttpFlagsFunctionCounter++;
      lteiot9_clear_app_buf();
      lteiot9_process();
      if (strstr(app_buf, "^SISR: 4,1") != NULL) {
        lteiot9_send_cmd(&lteiot9, "AT^SISR=4,100");
        app_error_flag = lteiot9_rsp_check();
        if (app_error_flag == 0) {
          strcpy(response, app_buf);
          parse_flags_json_response();
          if (http_fail_counter >= 0) {
            http_fail_counter--;
          }
          postHttpFlagsFunctionCounter = 0;
        }
      }

      if (strstr(app_buf, "^SIS: 4,0,24") != NULL ||
          strstr(app_buf, "^SIS: 4,0,62") != NULL) {
        http_fail_counter++;
        lteiot9_send_cmd(&lteiot9, "AT^SISC=4");
        app_error_flag = lteiot9_rsp_check();
        if (app_error_flag == 0) {
          post_http_flags_status = HTTP_FLAGS_POST_SISC;
          postHttpFlagsFunctionCounter = 0;
          lteiot9_status = LTEIOT9_HTTP_FLAGS_SETUP;
        }
      }

      if (strstr(app_buf, "^SISR: 4,2") != NULL ||
          strstr(app_buf, "^SISR: 4,-2") != NULL) {
        lteiot9_send_cmd(&lteiot9, "AT^SISC=4");
        app_error_flag = lteiot9_rsp_check();
        if (app_error_flag == 0) {
          post_http_flags_status = HTTP_FLAGS_POST_SISC;
          postHttpFlagsFunctionCounter = 0;
        }
      }

      break;
    case HTTP_FLAGS_POST_SISC:
      lteiot9_send_cmd(&lteiot9, "AT^SISC=4");
      app_error_flag = lteiot9_rsp_check();
      if (app_error_flag == 0) {
        post_http_flags_status = HTTP_FLAGS_POST_POST;
        lteiot9_status = LTEIOT9_HTTP_FLAGS_SETUP;

        if (ping_status == 1) {
          ping_routine();
          lteiot9_status = LTEIOT9_HTTP_FLAGS_POST;
        } else {
          if (gps_status == 1) {
            if (gps_status_old == 1) {
              if (location_send_flag == 1) {
                lteiot9_status = LTEIOT9_HTTP_GNSS_SETUP;
              } else {
                lteiot9_status = LTEIOT9_GNSS_DATA;
              }
            } else {
              lteiot9_status = LTEIOT9_GNSS_CONFIG;
              gps_status_old = 1;
            }
          }
        }
      }
      break;
    default:
      // Handle unexpected mode
      break;
  }

  if (post_http_flags_status == HTTP_FLAGS_POST_RESPONSE) {
    if (postHttpFlagsFunctionCounter > 25) {
      postHttpFlagsFunctionCounter = 0;
      post_http_flags_status = HTTP_FLAGS_POST_SISC;
    }
  } else {
    if (postHttpFlagsFunctionCounter > postHttpFlagsFunctionCounter_MaxVal) {
      lteiot9_send_cmd(&lteiot9, "AT^SISC=4");
      app_error_flag = lteiot9_rsp_check();
      postHttpFlagsFunctionCounter = 0;
      post_http_flags_status = HTTP_FLAGS_POST_POST;
      lteiot9_status = LTEIOT9_HTTP_FLAGS_SETUP;
    }
  }
}

void gnssConfigFunction() {
  switch (gnss_config_status) {
    case GNSS_CONFIG_GPS:
      lteiot9_send_cmd(&lteiot9, GNNS_START_GPS);
      app_error_flag = lteiot9_rsp_check();
      if (app_error_flag == 0) {
        gnss_config_status = GNSS_CONFIG_NMEA_ON;
      }
      break;
    case GNSS_CONFIG_NMEA_ON:
      lteiot9_send_cmd(&lteiot9, GNSS_START_OUT);
      app_error_flag = lteiot9_rsp_check();
      if (app_error_flag == 0) {
        gnss_config_status = GNSS_CONFIG_START_MODE;
      }
      break;
    case GNSS_CONFIG_START_MODE:
      lteiot9_send_cmd(&lteiot9, GNNS_START_MODE_EN);
      app_error_flag = lteiot9_rsp_check();
      if (app_error_flag == 0) {
        gnss_config_status = GNSS_WAIT_REBOOT;
        lteiot9_send_cmd_with_parameter(&lteiot9, LTEIOT9_CMD_CFUN, "1,1");
      }
      break;
    case GNSS_WAIT_REBOOT:
      lteiot9_process();
      if (strstr(app_buf, LTEIOT9_SYSSTART) != NULL) {
        gnss_config_status = GNSS_CONFIG_GPS;
        lteiot9_status = LTEIOT9_GNSS_DATA;
      }
      break;
    default:
      // Handle unexpected mode
      break;
  }
}

void setupHttpGnssFunction() {
  switch (setup_http_gnss_status) {
    case HTTP_GNSS_SETUP_SICA_1:
      setup_http_gnss_status = HTTP_GNSS_SETUP_SICA_0;
      setupHttpGnssFunctionCounter = 0;
      break;
    case HTTP_GNSS_SETUP_SICA:
      setup_http_gnss_status = HTTP_GNSS_SETUP_CGPADDR;
      setupHttpGnssFunctionCounter = 0;
      break;
    case HTTP_GNSS_SETUP_CGPADDR:
      setup_http_gnss_status = HTTP_GNSS_SETUP_SICA_0;
      setupHttpGnssFunctionCounter = 0;
      break;
    case HTTP_GNSS_SETUP_SICA_0:
      setupHttpGnssFunctionCounter++;
      lteiot9_send_cmd(&lteiot9, "AT^SICA=0,1");  // Ensure no active connection
      app_error_flag = lteiot9_rsp_check();
      if (app_error_flag == 0) {
        setup_http_gnss_status = HTTP_GNSS_SETUP_SSECUA;
        setupHttpGnssFunctionCounter = 0;
      } else if (strstr(app_buf, "GPRS Error") != NULL) {
        lteiot9_status = LTEIOT9_INIT;
        lteiot9_set_on_pin(&lteiot9, 0);
      }
      break;
    case HTTP_GNSS_SETUP_SSECUA:
      lteiot9_send_cmd(&lteiot9,
                       "AT^SSECUA=\"CertStore/TLS/PreconfigureCerts\"");
      setup_http_gnss_status = HTTP_GNSS_SETUP_DNS;
      break;
    case HTTP_GNSS_SETUP_DNS:
      setupHttpGnssFunctionCounter++;
      char cmd[100];
      sprintf(cmd, "AT^SICS=1,\"dns1\",\"%s\"", primary_dns[dns_idx]);
      lteiot9_send_cmd(&lteiot9, cmd);
      if (app_error_flag == 0) {
        setup_http_gnss_status = HTTP_GNSS_SETUP_SICA_ON;
        setupHttpGnssFunctionCounter = 0;
      }
      sprintf(cmd, "AT^SICS=1,\"dns2\",\"%s\"", secondary_dns[dns_idx]);
      lteiot9_send_cmd(&lteiot9, cmd);
      if (app_error_flag == 0) {
        setup_http_gnss_status = HTTP_GNSS_SETUP_SICA_ON;
        setupHttpGnssFunctionCounter = 0;
      }
      break;
    case HTTP_GNSS_SETUP_SICA_ON:
      setupHttpGnssFunctionCounter++;
      lteiot9_send_cmd(&lteiot9, "AT^SICA=1,1");
      app_error_flag = lteiot9_rsp_check();
      if (app_error_flag == 0) {
        setup_http_gnss_status = HTTP_GNSS_SETUP_HTTP;
        setupHttpGnssFunctionCounter = 0;
      }
      break;
    case HTTP_GNSS_SETUP_HTTP:
      setupHttpGnssFunctionCounter++;
      lteiot9_send_cmd(&lteiot9, "AT^SISS=6,srvType,\"Http\"");
      app_error_flag = lteiot9_rsp_check();
      if (app_error_flag == 0) {
        setup_http_gnss_status = HTTP_GNSS_SETUP_CON;
        setupHttpGnssFunctionCounter = 0;
      }
      break;
    case HTTP_GNSS_SETUP_CON:
      setupHttpGnssFunctionCounter++;
      lteiot9_send_cmd(&lteiot9, "AT^SISS=6,conid,\"1\"");
      app_error_flag = lteiot9_rsp_check();
      if (app_error_flag == 0) {
        setup_http_gnss_status = HTTP_GNSS_SETUP_ADDR;
        setupHttpGnssFunctionCounter = 0;
      }
      break;
    case HTTP_GNSS_SETUP_ADDR:
      setupHttpGnssFunctionCounter++;
      lteiot9_send_cmd(&lteiot9,
                       "AT^SISS=6,\"address\",\"" SERVER_URL_LOCATION "\"");
      app_error_flag = lteiot9_rsp_check();
      if (app_error_flag == 0) {
        setup_http_gnss_status = HTTP_GNSS_SETUP_HCPROP;
        setupHttpGnssFunctionCounter = 0;
      }
      break;
    case HTTP_GNSS_SETUP_HCPROP:
      setupHttpGnssFunctionCounter++;
      lteiot9_send_cmd(&lteiot9,
                       "AT^SISS=6,hcprop,\"Content-Type: application/json\"");
      app_error_flag = lteiot9_rsp_check();
      if (app_error_flag == 0) {
        setup_http_gnss_status = HTTP_GNSS_SETUP_SICA_ON;
        setupHttpGnssFunctionCounter = 0;
        lteiot9_status = LTEIOT9_HTTP_GNSS_POST;
      }
      break;
    default:
      // Handle unexpected mode
      break;
  }

  if (setupHttpGnssFunctionCounter > setupHttpGnssFunctionCounter_MaxVal) {
    if (setup_http_gnss_status == HTTP_GNSS_SETUP_SICA_1) {
      lteiot9_status = LTEIOT9_NET_CONFIG;
      http_fail_counter = 0;
    }

    lteiot9_status = LTEIOT9_HTTP_FLAGS_SETUP;

    setup_http_gnss_status = HTTP_GNSS_SETUP_SICA_1;
    setupHttpGnssFunctionCounter = 0;
  }
}

void postHttpGnssFunction() {
  switch (post_http_gnss_status) {
    case HTTP_GNSS_POST_POST:
      postHttpGnssFunctionCounter++;
      lteiot9_send_cmd(&lteiot9, "AT^SISS=6,cmd,\"post\"");
      app_error_flag = lteiot9_rsp_check();
      if (app_error_flag == 0) {
        post_http_gnss_status = HTTP_GNSS_POST_CONTENT;
        postHttpGnssFunctionCounter = 0;
      }
      break;
    case HTTP_GNSS_POST_CONTENT:
      postHttpGnssFunctionCounter++;
      char cmd[200];
      sprintf(cmd, "AT^SISS=6,\"hccontent\",\"%s\"", json_data);
      lteiot9_send_cmd(&lteiot9, cmd);  // Set target URL
      app_error_flag = lteiot9_rsp_check();
      if (app_error_flag == 0) {
        post_http_gnss_status = HTTP_GNSS_POST_LEN;
        postHttpGnssFunctionCounter = 0;
      }
      break;
    case HTTP_GNSS_POST_LEN:
      postHttpGnssFunctionCounter++;
      lteiot9_send_cmd(&lteiot9, "AT^SISS=6,\"hccontlen\",\"0\"");
      app_error_flag = lteiot9_rsp_check();
      if (app_error_flag == 0) {
        post_http_gnss_status = HTTP_GNSS_POST_SISO;
        postHttpGnssFunctionCounter = 0;
      }
      break;
    case HTTP_GNSS_POST_SISO:
      postHttpGnssFunctionCounter++;
      lteiot9_send_cmd(&lteiot9, "AT^SISO=6");  // Open Internet service
      app_error_flag = lteiot9_rsp_check();
      if (app_error_flag == 0) {
        post_http_gnss_status = HTTP_GNSS_POST_RESPONSE;
        postHttpGnssFunctionCounter = 0;
      }
      break;
    case HTTP_GNSS_POST_RESPONSE:
      postHttpGnssFunctionCounter++;
      lteiot9_clear_app_buf();
      lteiot9_process();
      if (strstr(app_buf, "^SISR: 6,1") != NULL) {
        postHttpGnssFunctionCounter = 0;
        lteiot9_send_cmd(&lteiot9, "AT^SISR=6,100");
        lteiot9_process();
        http_fail_counter--;
        location_send_flag = 0;
      }

      if (strstr(app_buf, "^SIS: 6,0,24") != NULL ||
          strstr(app_buf, "^SIS: 6,0,62") != NULL) {
        http_fail_counter++;
        lteiot9_send_cmd(&lteiot9, "AT^SISC=6");
        if (app_error_flag == 0) {
          post_http_gnss_status = HTTP_GNSS_POST_SISC;
          postHttpGnssFunctionCounter = 0;
        }
      }

      if (strstr(app_buf, "^SISR: 6,2") != NULL ||
          strstr(app_buf, "^SISR: 6,-2") != NULL) {
        lteiot9_send_cmd(&lteiot9, "AT^SISC=6");
        if (app_error_flag == 0) {
          post_http_gnss_status = HTTP_GNSS_POST_SISC;
          postHttpGnssFunctionCounter = 0;
        }
      }

      break;
    case HTTP_GNSS_POST_SISC:
      lteiot9_send_cmd(&lteiot9, "AT^SISC=6");
      app_error_flag = lteiot9_rsp_check();
      if (app_error_flag == 0) {
        post_http_gnss_status = HTTP_GNSS_POST_POST;
        lteiot9_status = LTEIOT9_HTTP_FLAGS_SETUP;
      }
      break;
    default:
      // Handle unexpected mode
      break;
  }

  if (post_http_gnss_status == HTTP_GNSS_POST_RESPONSE) {
    if (postHttpGnssFunctionCounter > 30) {
      postHttpGnssFunctionCounter = 0;
      post_http_gnss_status = HTTP_GNSS_POST_SISC;
    }
  } else {
    if (postHttpGnssFunctionCounter > postHttpGnssFunctionCounter_MaxVal) {
      lteiot9_send_cmd(&lteiot9, "AT^SISC=6");
      app_error_flag = lteiot9_rsp_check();
      if (post_http_gnss_status == HTTP_GNSS_POST_POST) {
        lteiot9_status = LTEIOT9_HTTP_GNSS_SETUP;
      }
      postHttpGnssFunctionCounter = 0;
      post_http_gnss_status = LTEIOT9_HTTP_GNSS_SETUP;
    }
  }
}

/* USER CODE END 4 */

void Error_Handler(void) {
  __disable_irq();
  while (1) {
  }
}

#ifdef USE_FULL_ASSERT
/**
 * @brief  Reports the name of the source file and the source line number
 *         where the assert_param error has occurred.
 * @param  file: pointer to the source file name
 * @param  line: assert_param error line source number
 * @retval None
 */
void assert_failed(uint8_t *file, uint32_t line) {
  /* USER CODE BEGIN 6 */
  /* User can add his own implementation to report the file name and line
     number, ex: printf("Wrong parameters value: file %s on line %d\r\n", file,
     line) */
  /* USER CODE END 6 */
}
#endif /* USE_FULL_ASSERT */
